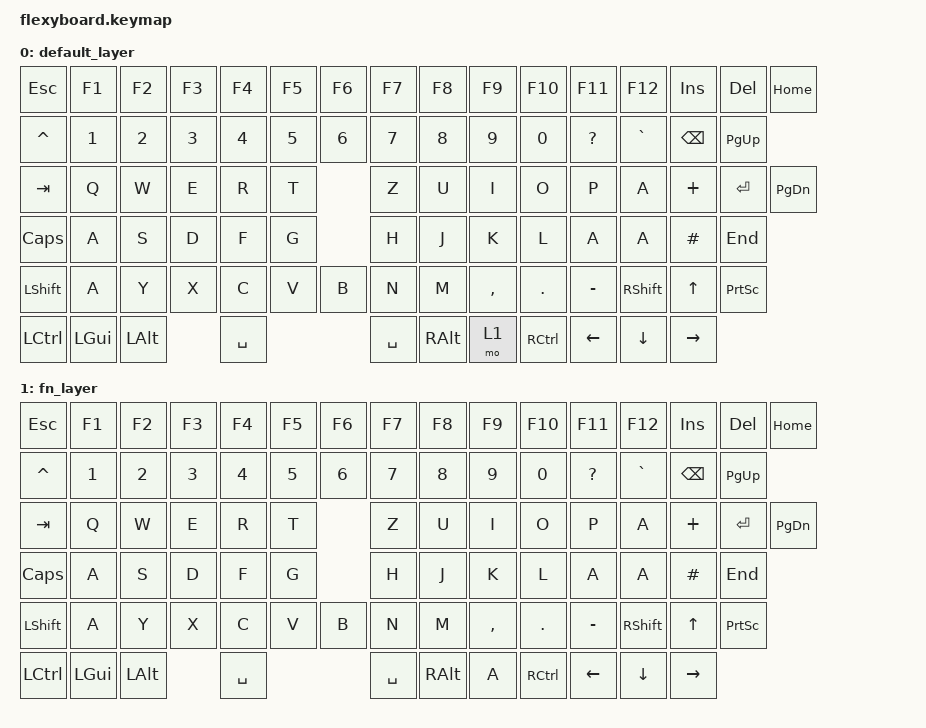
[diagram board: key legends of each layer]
#include <behaviors.dtsi>
#include <dt-bindings/zmk/bt.h>
#include <dt-bindings/zmk/keys.h>
#include <dt-bindings/zmk/outputs.h>

/ {
    keymap {
        compatible = "zmk,keymap";

        default_layer {
            bindings = <
                &kp ESC    &kp F1   &kp F2   &kp F3    &kp F4    &kp F5   &kp F6  /**/   &kp F7    &kp F8    &kp F9    &kp F10   &kp F11    &kp F12    &kp INS       &kp DEL     &kp HOME
                &kp CARET  &kp N1   &kp N2   &kp N3    &kp N4    &kp N5   &kp N6  /**/   &kp N7    &kp N8    &kp N9    &kp N0    &kp QMARK  &kp GRAVE  &kp BACKSPACE &kp PG_UP 
                &kp TAB    &kp Q    &kp W    &kp E     &kp R     &kp T            /**/   &kp Z     &kp U     &kp I     &kp O     &kp P      &kp A      &kp PLUS      &kp ENTER   &kp PG_DN 
                &kp CAPS   &kp A    &kp S    &kp D     &kp F     &kp G            /**/   &kp H     &kp J     &kp K     &kp L     &kp A      &kp A      &kp HASH      &kp END            
                &kp LSHIFT &kp A    &kp Y    &kp X     &kp C     &kp V    &kp B   /**/   &kp N     &kp M     &kp COMMA &kp DOT   &kp MINUS  &kp RSHIFT &kp UP        &kp PSCRN          
                &kp LCTRL  &kp LGUI &kp LALT           &kp SPACE                  /**/   &kp SPACE &kp RALT  &mo 1     &kp RCTRL &kp LEFT   &kp DOWN   &kp RIGHT                              
            >;
        };

        fn_layer {
            bindings = <
                &kp ESC    &kp F1   &kp F2   &kp F3    &kp F4    &kp F5   &kp F6  /**/   &kp F7    &kp F8    &kp F9    &kp F10   &kp F11    &kp F12    &kp INS       &kp DEL     &kp HOME
                &kp CARET  &kp N1   &kp N2   &kp N3    &kp N4    &kp N5   &kp N6  /**/   &kp N7    &kp N8    &kp N9    &kp N0    &kp QMARK  &kp GRAVE  &kp BACKSPACE &kp PG_UP 
                &kp TAB    &kp Q    &kp W    &kp E     &kp R     &kp T            /**/   &kp Z     &kp U     &kp I     &kp O     &kp P      &kp A      &kp PLUS      &kp ENTER   &kp PG_DN 
                &kp CAPS   &kp A    &kp S    &kp D     &kp F     &kp G            /**/   &kp H     &kp J     &kp K     &kp L     &kp A      &kp A      &kp HASH      &kp END            
                &kp LSHIFT &kp A    &kp Y    &kp X     &kp C     &kp V    &kp B   /**/   &kp N     &kp M     &kp COMMA &kp DOT   &kp MINUS  &kp RSHIFT &kp UP        &kp PSCRN          
                &kp LCTRL  &kp LGUI &kp LALT           &kp SPACE                  /**/   &kp SPACE &kp RALT  &kp A     &kp RCTRL &kp LEFT   &kp DOWN   &kp RIGHT                              
            >;
        };
    };
};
